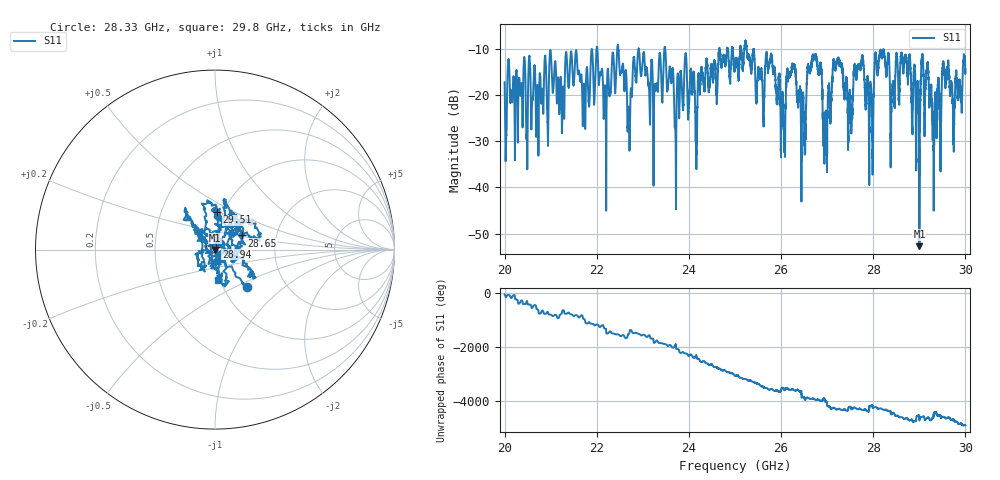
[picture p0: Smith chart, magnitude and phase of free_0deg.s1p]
#  HZ  S  RI  R  50.00
! Rohde & Schwarz ZVA40 4Ports - Version 3.90 - 1145.1110k42 SN: 100403
! Date: 2023-09-28 08:45:29
! Measurement: S22
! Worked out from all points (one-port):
!   5001 points, 20 GHz to 30 GHz, reference 50 ohm
!   lowest |S11| = -52.7 dB at 29 GHz (marker M1), VSWR 1.00, Z = 50.2 - j0.163 ohm
!   |S11| at or under -10 dB: start of sweep to 22 GHz; 23.48 GHz to 24.66 GHz (1.175 GHz wide, 4.88 % of centre); 25.25 GHz to end of sweep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
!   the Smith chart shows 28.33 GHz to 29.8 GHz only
!   S11 on the Smith chart (normalised r, x): 28.33 GHz: 1.28, -0.58; 28.65 GHz: 1.33, +0.22; 28.94 GHz: 1.01, +0.03; 29.51 GHz: 0.94, +0.41; 29.8 GHz: 0.98, -0.34
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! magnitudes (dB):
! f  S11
! 20 GHz  -17.3
! 21.25 GHz  -26.0
! 22.5 GHz  -15.1
! 22.7 GHz  -27.8
! 22.92 GHz  -10.7
! 23.75 GHz  -15.9
! 25 GHz  -13.4
! 25.79 GHz  -11.5
! 26.04 GHz  -21.7
! 26.25 GHz  -13.9
! 26.48 GHz  -20.4
! 26.72 GHz  -11.9
! 26.95 GHz  -29.5
! 27.19 GHz  -14.0
! 27.5 GHz  -20.8
! 27.74 GHz  -13.9
! 27.95 GHz  -19.9
! 28.07 GHz  -12.6
! 28.33 GHz  -11.3
! 28.65 GHz  -15.4
! 28.75 GHz  -17.0
! 28.94 GHz  -34.6
! 29 GHz  -52.7
! 29.19 GHz  -14.2
! 29.33 GHz  -21.6
! 29.51 GHz  -13.6
! 29.8 GHz  -15.5
! 30 GHz  -14.5
